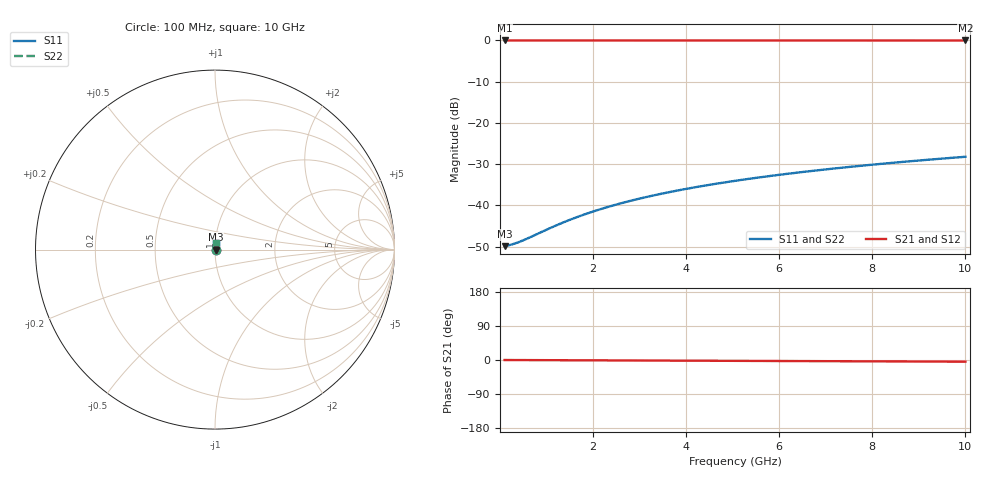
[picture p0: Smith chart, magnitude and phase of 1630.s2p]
# Hz S RI R 50.00
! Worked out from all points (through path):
!   100 points, 100 MHz to 10 GHz, reference 50 ohm
!   highest |S21| = -0.03 dB at 100 MHz (marker M1); lowest = 0.0 dB at 10 GHz (marker M2)
!   lowest |S11| = -49.9 dB at 100 MHz (marker M3), VSWR 1.01, Z = 50.3 + j0.0387 ohm
!   |S11| at or under -10 dB: start of sweep to end of sweep
!   |S22| runs from -49.9 to -28.2 dB; largest |S21 - S12| = 0
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1e8  0.00319 0.000385  0.9968 -0.000772  0.9968 -0.000772  0.00319 0.000385
2e8  0.00321 0.00077  0.9968 -0.00154  0.9968 -0.00154  0.00321 0.00077
3e8  0.00322 0.00115  0.9968 -0.00232  0.9968 -0.00232  0.00322 0.00115
4e8  0.00324 0.00154  0.9968 -0.00309  0.9968 -0.00309  0.00324 0.00154
6e8  0.00326 0.00231  0.9967 -0.00463  0.9967 -0.00463  0.00326 0.00231
1e9  0.00331 0.00385  0.9967 -0.00772  0.9967 -0.00772  0.00331 0.00385
1.3e9  0.00335 0.005  0.9966 -0.01  0.9966 -0.01  0.00335 0.005
1.5e9  0.00338 0.00577  0.9966 -0.0116  0.9966 -0.0116  0.00338 0.00577
1.8e9  0.00342 0.00692  0.9965 -0.0139  0.9965 -0.0139  0.00342 0.00692
2.1e9  0.00347 0.00808  0.9965 -0.0162  0.9965 -0.0162  0.00347 0.00808
2.5e9  0.00354 0.00962  0.9964 -0.0193  0.9964 -0.0193  0.00354 0.00962
2.9e9  0.00362 0.0112  0.9963 -0.0224  0.9963 -0.0224  0.00362 0.0112
3.4e9  0.00372 0.0131  0.9962 -0.0262  0.9962 -0.0262  0.00372 0.0131
3.8e9  0.00382 0.0146  0.9961 -0.0293  0.9961 -0.0293  0.00382 0.0146
4.2e9  0.00393 0.0161  0.9959 -0.0324  0.9959 -0.0324  0.00393 0.0161
4.6e9  0.00404 0.0177  0.9958 -0.0355  0.9958 -0.0355  0.00404 0.0177
5.1e9  0.0042 0.0196  0.9956 -0.0393  0.9956 -0.0393  0.0042 0.0196
5.9e9  0.00448 0.0227  0.9952 -0.0455  0.9952 -0.0455  0.00448 0.0227
6.7e9  0.0048 0.0257  0.9948 -0.0517  0.9948 -0.0517  0.0048 0.0257
7.5e9  0.00516 0.0288  0.9944 -0.0578  0.9944 -0.0578  0.00516 0.0288
8.4e9  0.0056 0.0322  0.9938 -0.0647  0.9938 -0.0647  0.0056 0.0322
1e10  0.00652 0.0383  0.9927 -0.077  0.9927 -0.077  0.00652 0.0383
